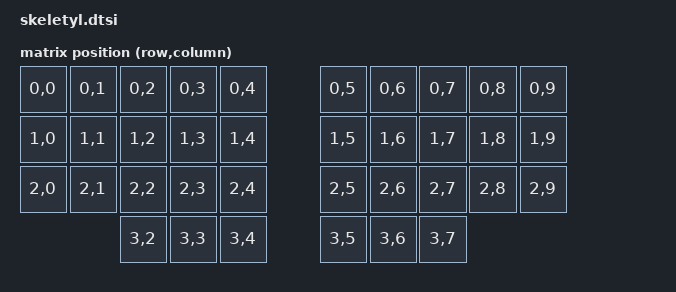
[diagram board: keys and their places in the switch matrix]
#include <dt-bindings/zmk/matrix_transform.h>
#include <dt-bindings/zmk/matrix_transform.h>
#define ZMK_MOUSE_DEFAULT_MOVE_VAL 1500  // 600
#define ZMK_MOUSE_DEFAULT_SCRL_VAL 20    // 10

#include <dt-bindings/zmk/mouse.h>
#include <behaviors/mouse_keys.dtsi>

&mmv {
    acceleration-exponent = <1>;      // 1
    time-to-max-speed-ms = <500>;     // 300
    delay-ms = <0>;                   // 0
};

&msc {
    acceleration-exponent = <1>;      // 0
    time-to-max-speed-ms = <40>;      // 300
    delay-ms = <0>;                   // 0
};

/ {
    chosen {
        zmk,kscan = &kscan0;
        zmk,matrix_transform = &default_transform;
    };

    default_transform: keymap_transform_0 {
        compatible = "zmk,matrix-transform";
        columns = <10>;
        rows = <4>;
// | SW5  | SW4  | SW3  | SW2  | SW1  |                 | SW1  | SW2  | SW3  | SW4  | SW5  |
// | SW10 | SW9  | SW8  | SW7  | SW6  |                 | SW6  | SW7  | SW8  | SW9  | SW10 |
// | SW15 | SW14 | SW13 | SW12 | SW11 |                 | SW11 | SW12 | SW13 | SW14 | SW15 |
//                      | SW18 | SW17 | SW16 |   | SW16 | SW17 | SW18 |
        map = <
RC(0,0) RC(0,1) RC(0,2) RC(0,3) RC(0,4)                 RC(0,5) RC(0,6) RC(0,7) RC(0,8) RC(0,9)
RC(1,0) RC(1,1) RC(1,2) RC(1,3) RC(1,4)                 RC(1,5) RC(1,6) RC(1,7) RC(1,8) RC(1,9)
RC(2,0) RC(2,1) RC(2,2) RC(2,3) RC(2,4)                 RC(2,5) RC(2,6) RC(2,7) RC(2,8) RC(2,9)
                        RC(3,2) RC(3,3) RC(3,4) RC(3,5) RC(3,6) RC(3,7)
        >;
    };

    kscan0: kscan {
        compatible = "zmk,kscan-gpio-matrix";
        label = "KSCAN";

        diode-direction = "row2col"; // use row2col if using amoeba pcb
    };
};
